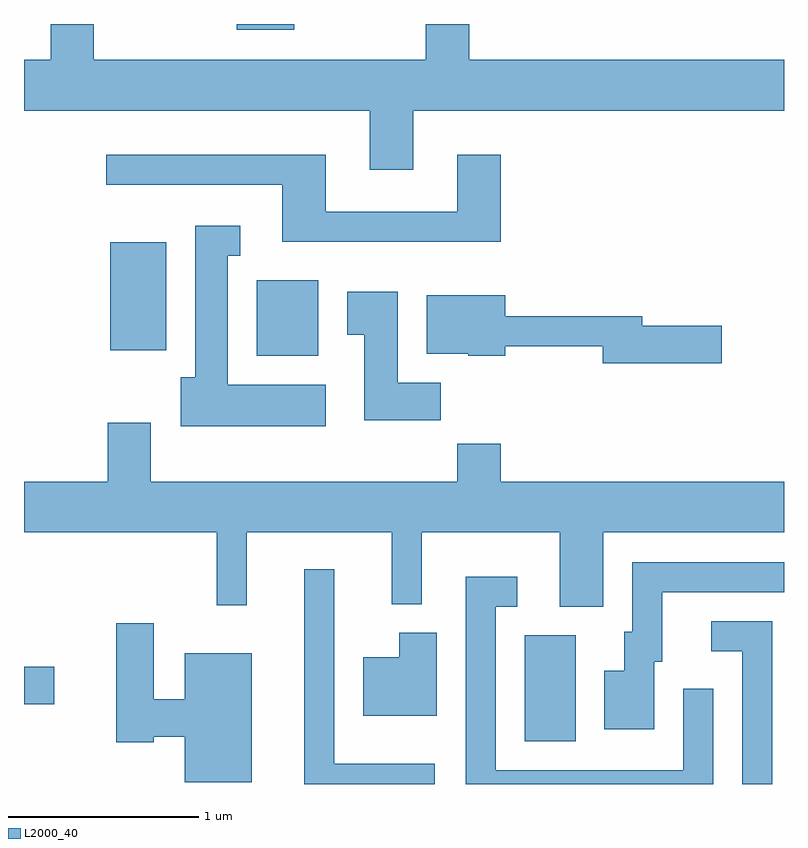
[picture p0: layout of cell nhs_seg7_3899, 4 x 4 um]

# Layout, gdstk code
import gdstk
lib = gdstk.Library(unit=1e-6, precision=1e-09)
def R(c, l, rs):  # rectangles x0, y0, x1, y1
    for r in rs: c.add(gdstk.rectangle(r[:2], r[2:], *l))
def P(c, l, *ps):  # polygons
    for p in ps: c.add(gdstk.Polygon(p, *l))
L2000_40 = (2000, 40)

nhs_seg7_3899 = lib.new_cell('nhs_seg7_3899')
R(nhs_seg7_3899, L2000_40, [(306.246,1786.476,306.514,1787.034), (303.611,1786.671,303.769,1786.869), (304.836,1788.506,305.159,1788.904), (304.066,1788.536,304.359,1789.104), (304.731,1790.221,305.034,1790.252)])
P(nhs_seg7_3899, L2000_40, [(305.659,1789.796),(307.611,1789.796),(307.611,1790.064),(305.954,1790.064),(305.954,1790.252),(305.726,1790.252),(305.726,1790.064),(303.979,1790.064),(303.979,1790.252),(303.751,1790.252),(303.751,1790.064),(303.611,1790.064),(303.611,1789.796),(305.431,1789.796),(305.431,1789.486),(305.659,1789.486)],
  [(306.119,1789.564),(305.891,1789.564),(305.891,1789.264),(305.199,1789.264),(305.199,1789.564),(304.043,1789.564),(304.043,1789.406),(304.971,1789.406),(304.971,1789.106),(306.119,1789.106)],
  [(305.199,1788.354),(304.684,1788.354),(304.684,1789.031),(304.748,1789.031),(304.748,1789.189),(304.511,1789.189),(304.511,1788.394),(304.436,1788.394),(304.436,1788.136),(305.199,1788.136)],
  [(305.804,1788.364),(305.579,1788.364),(305.579,1788.844),(305.311,1788.844),(305.311,1788.616),(305.401,1788.616),(305.401,1788.166),(305.804,1788.166)],
  [(307.284,1788.664),(306.864,1788.664),(306.864,1788.714),(306.144,1788.714),(306.144,1788.824),(305.731,1788.824),(305.731,1788.516),(305.95,1788.516),(305.95,1788.506),(306.144,1788.506),(306.144,1788.556),(306.656,1788.556),(306.656,1788.466),(307.284,1788.466)],
  [(306.659,1787.576),(307.611,1787.576),(307.611,1787.844),(306.119,1787.844),(306.119,1788.044),(305.891,1788.044),(305.891,1787.844),(304.279,1787.844),(304.279,1788.154),(304.051,1788.154),(304.051,1787.844),(303.611,1787.844),(303.611,1787.576),(304.626,1787.576),(304.626,1787.193),(304.784,1787.193),(304.784,1787.576),(305.546,1787.576),(305.546,1787.198),(305.704,1787.198),(305.704,1787.576),(306.431,1787.576),(306.431,1787.186),(306.659,1787.186)],
  [(306.929,1786.896),(306.969,1786.896),(306.969,1787.261),(307.611,1787.261),(307.611,1787.419),(306.811,1787.419),(306.811,1787.054),(306.771,1787.054),(306.771,1786.849),(306.666,1786.849),(306.666,1786.541),(306.929,1786.541)],
  [(305.774,1786.359),(305.244,1786.359),(305.244,1787.383),(305.086,1787.383),(305.086,1786.252),(305.774,1786.252)],
  [(307.239,1786.753),(307.081,1786.753),(307.081,1786.324),(306.094,1786.324),(306.094,1787.186),(306.208,1787.186),(306.208,1787.344),(305.936,1787.344),(305.936,1786.252),(307.239,1786.252)],
  [(307.549,1787.109),(307.228,1787.109),(307.228,1786.951),(307.391,1786.951),(307.391,1786.252),(307.549,1786.252)],
  [(304.809,1786.939),(304.456,1786.939),(304.456,1786.699),(304.294,1786.699),(304.294,1787.099),(304.096,1787.099),(304.096,1786.471),(304.294,1786.471),(304.294,1786.501),(304.456,1786.501),(304.456,1786.261),(304.809,1786.261)],
  [(305.784,1787.049),(305.586,1787.049),(305.586,1786.919),(305.396,1786.919),(305.396,1786.611),(305.784,1786.611)])

lib.write_gds('nhs_seg7_3899.gds')
